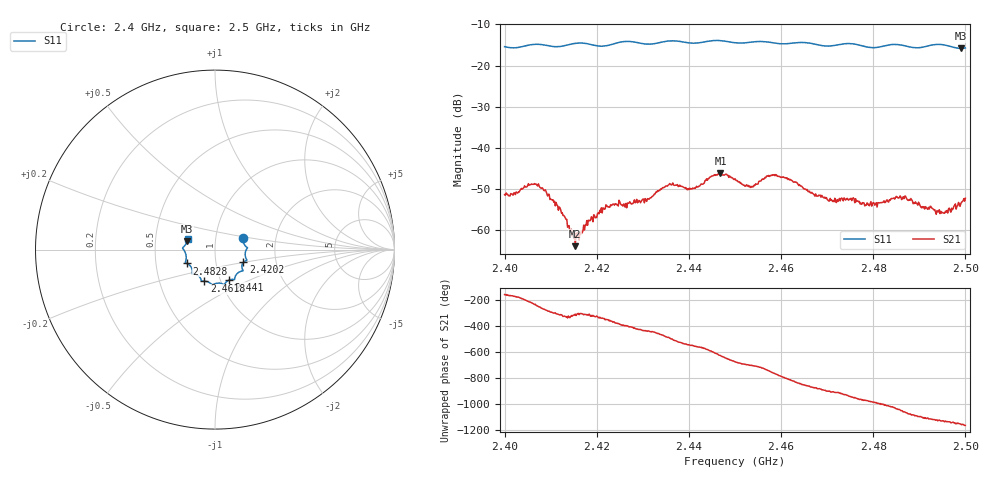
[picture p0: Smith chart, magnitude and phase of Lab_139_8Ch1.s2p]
# Hz S RI R 50
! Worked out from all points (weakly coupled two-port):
!   601 points, 2.4 GHz to 2.5 GHz, reference 50 ohm
!   highest |S21| = -46.14 dB at 2.4468 GHz (marker M1); lowest = -63.9 dB at 2.4153 GHz (marker M2)
!   lowest |S11| = -15.8 dB at 2.499 GHz (marker M3), VSWR 1.39, Z = 36.5 + j3.48 ohm
!   |S11| at or under -10 dB: start of sweep to end of sweep
!   S12 and S22 are empty: the file has one direction only
!   S11 on the Smith chart (normalised r, x): 2.4 GHz: 1.36, +0.18; 2.4202 GHz: 1.36, -0.20; 2.441 GHz: 1.10, -0.39; 2.4618 GHz: 0.84, -0.30; 2.4828 GHz: 0.72, -0.12; 2.5 GHz: 0.73, +0.09
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2.4e9  0.1574 0.0631  -0.0025 -0.00102  0 0  0 0
2.407e9  0.181 0.0102  -0.00156 0.00315  0 0  0 0
2.411667e9  0.168 -0.0244  0.00115 0.00131  0 0  0 0
2.415333e9  0.1771 -0.0573  0.000394 0.000502  0 0  0 0
2.416667e9  0.1777 -0.06  0.000558 0.0008  0 0  0 0
2.420167e9  0.158 -0.0706  0.00137 0.000821  0 0  0 0
2.433333e9  0.112 -0.1511  -0.000387 -0.00294  0 0  0 0
2.436e9  0.1099 -0.1664  -0.00259 -0.00251  0 0  0 0
2.441e9  0.0785 -0.1695  -0.00313 0.000651  0 0  0 0
2.446833e9  0.0489 -0.1946  -0.000201 0.00493  0 0  0 0
2.45e9  0.0285 -0.1871  0.003 0.00296  0 0  0 0
2.4535e9  -0.00401 -0.1923  0.00327 0.000918  0 0  0 0
2.457333e9  -0.0206 -0.1914  0.00419 -0.00193  0 0  0 0
2.461833e9  -0.0592 -0.1758  -0.000313 -0.00407  0 0  0 0
2.466667e9  -0.0779 -0.1681  -0.0025 -0.00141  0 0  0 0
2.478667e9  -0.1279 -0.1082  -0.00054 0.00207  0 0  0 0
2.482833e9  -0.1574 -0.0774  0.000868 0.00212  0 0  0 0
2.483333e9  -0.1605 -0.0763  0.000942 0.00198  0 0  0 0
2.486833e9  -0.1625 -0.0617  0.00246 0.000802  0 0  0 0
2.495e9  -0.179 0.0113  0.00105 -0.00127  0 0  0 0
2.499e9  -0.1547 0.0465  0.00047 -0.00204  0 0  0 0
2.5e9  -0.1518 0.0608  0.000162 -0.00243  0 0  0 0
